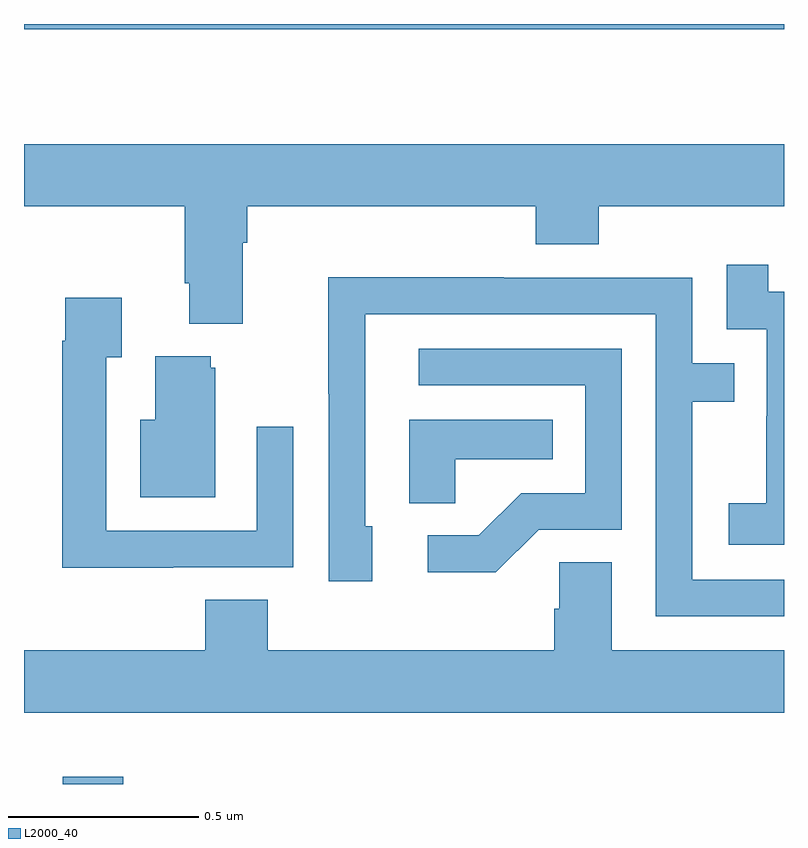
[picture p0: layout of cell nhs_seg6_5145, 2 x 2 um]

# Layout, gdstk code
import gdstk
lib = gdstk.Library(unit=1e-6, precision=1e-09)
def R(c, l, rs):  # rectangles x0, y0, x1, y1
    for r in rs: c.add(gdstk.rectangle(r[:2], r[2:], *l))
def P(c, l, *ps):  # polygons
    for p in ps: c.add(gdstk.Polygon(p, *l))
L2000_40 = (2000, 40)

nhs_seg6_5145 = lib.new_cell('nhs_seg6_5145')
R(nhs_seg6_5145, L2000_40, [(179.102,928.5,179.261,928.519), (179,930.486,181,930.5)])
P(nhs_seg6_5145, L2000_40, [(179.575,929.924),(179.588,929.924),(179.588,930.02),(180.347,930.02),(180.347,929.921),(180.512,929.921),(180.512,930.02),(181,930.02),(181,930.184),(179,930.184),(179,930.02),(179.423,930.02),(179.423,929.818),(179.435,929.818),(179.435,929.711),(179.575,929.711)],
  [(181,929.796),(180.958,929.796),(180.958,929.866),(180.849,929.866),(180.849,929.697),(180.954,929.697),(180.954,929.468),(180.953,929.468),(180.953,929.239),(180.855,929.239),(180.855,929.129),(181,929.129)],
  [(181,929.037),(180.759,929.037),(180.759,929.506),(180.869,929.506),(180.869,929.607),(180.759,929.607),(180.759,929.832),(180.263,929.832),(180.263,929.834),(179.8,929.834),(179.8,929.527),(179.802,929.527),(179.802,929.034),(179.917,929.034),(179.917,929.178),(179.898,929.178),(179.898,929.736),(180.663,929.736),(180.663,928.941),(181,928.941)],
  [(179.393,929.07),(179.709,929.07),(179.709,929.44),(179.613,929.44),(179.613,929.166),(179.217,929.166),(179.217,929.623),(179.257,929.623),(179.257,929.779),(179.109,929.779),(179.109,929.666),(179.101,929.666),(179.101,929.069),(179.393,929.069)],
  [(180.354,929.169),(180.573,929.169),(180.573,929.646),(180.039,929.646),(180.039,929.55),(180.477,929.55),(180.477,929.265),(180.308,929.265),(180.197,929.154),(180.063,929.154),(180.063,929.057),(180.241,929.057)],
  [(179.503,929.595),(179.492,929.595),(179.492,929.626),(179.345,929.626),(179.345,929.458),(179.306,929.458),(179.306,929.255),(179.503,929.255)],
  [(180.135,929.354),(180.392,929.354),(180.392,929.458),(180.014,929.458),(180.014,929.239),(180.135,929.239)],
  [(181,928.852),(180.547,928.852),(180.547,929.084),(180.408,929.084),(180.408,928.961),(180.395,928.961),(180.395,928.852),(179.642,928.852),(179.642,928.985),(179.477,928.985),(179.477,928.852),(179,928.852),(179,928.688),(181,928.688)])

lib.write_gds('nhs_seg6_5145.gds')
